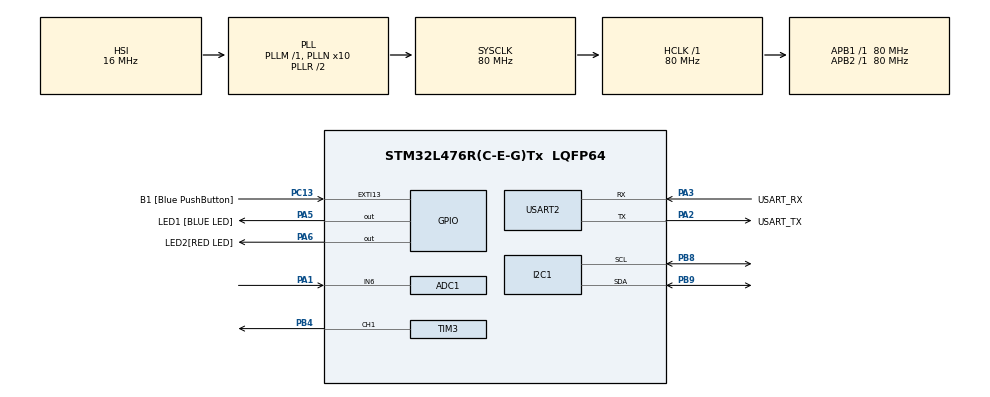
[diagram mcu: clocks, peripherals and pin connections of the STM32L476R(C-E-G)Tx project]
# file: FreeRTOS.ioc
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ADC1.Channel-0\#ChannelRegularConversion=ADC_CHANNEL_6
ADC1.ClockPrescaler=ADC_CLOCK_ASYNC_DIV128
ADC1.NbrOfConversionFlag=1
ADC1.OffsetNumber-0\#ChannelRegularConversion=ADC_OFFSET_NONE
ADC1.Rank-0\#ChannelRegularConversion=1
ADC1.SamplingTime-0\#ChannelRegularConversion=ADC_SAMPLETIME_2CYCLES_5
ADC1.master=1
FREERTOS.HEAP_NUMBER=4
FREERTOS.Tasks01=blinkTaskRed,24,128,Led_blinkTask,As weak,&ledRed,Dynamic,NULL,NULL;UartTask,8,256,Uart_uartTask,As external,NULL,Dynamic,NULL,NULL;blinkTaskBlue,8,128,Led_blinkTask,Default,&ledBlue,Dynamic,NULL,NULL;readDateTask,8,256,Rtc_readDateTask,As external,NULL,Dynamic,NULL,NULL;printDataTask,8,256,printData_task,As external,NULL,Dynamic,NULL,NULL;readAdcTask,8,256,Adc_readTask,As external,NULL,Dynamic,NULL,NULL;buzzerTask,8,384,Buzzer_playTask,As external,&bz1,Dynamic,NULL,NULL
FREERTOS.configCHECK_FOR_STACK_OVERFLOW=0
FREERTOS.configTOTAL_HEAP_SIZE=8192
I2C1.Timing=0x10909CEC
Mcu.Family=STM32L4
Mcu.Name=STM32L476R(C-E-G)Tx
Mcu.Package=LQFP64
NVIC.PriorityGroup=NVIC_PRIORITYGROUP_4
NVIC.TIM1_UP_TIM16_IRQn=true\:15\:0\:false\:false\:true\:false\:false\:true\:true
NVIC.TimeBase=TIM1_UP_TIM16_IRQn
NVIC.TimeBaseIP=TIM16
PA1.Signal=ADCx_IN6
PA13\ (JTMS-SWDIO).GPIO_Label=TMS
PA13\ (JTMS-SWDIO).Mode=Serial_Wire
PA13\ (JTMS-SWDIO).Signal=SYS_JTMS-SWDIO
PA14\ (JTCK-SWCLK).GPIO_Label=TCK
PA14\ (JTCK-SWCLK).Mode=Serial_Wire
PA14\ (JTCK-SWCLK).Signal=SYS_JTCK-SWCLK
PA2.GPIO_Label=USART_TX
PA2.GPIO_Mode=GPIO_MODE_AF_PP
PA2.GPIO_PuPd=GPIO_NOPULL
PA2.GPIO_Speed=GPIO_SPEED_FREQ_VERY_HIGH
PA2.Mode=Asynchronous
PA2.Signal=USART2_TX
PA3.GPIO_Label=USART_RX
PA3.GPIO_Mode=GPIO_MODE_AF_PP
PA3.GPIO_PuPd=GPIO_NOPULL
PA3.GPIO_Speed=GPIO_SPEED_FREQ_VERY_HIGH
PA3.Mode=Asynchronous
PA3.Signal=USART2_RX
PA5.GPIO_Label=LED1 [BLUE LED]
PA5.GPIO_ModeDefaultOutputPP=GPIO_MODE_OUTPUT_PP
PA5.GPIO_PuPd=GPIO_NOPULL
PA5.GPIO_Speed=GPIO_SPEED_FREQ_LOW
PA5.Signal=GPIO_Output
PA6.GPIO_Label=LED2[RED LED]
PA6.Signal=GPIO_Output
PB3\ (JTDO-TRACESWO).GPIO_Label=SWO
PB3\ (JTDO-TRACESWO).Signal=SYS_JTDO-SWO
PB4\ (NJTRST).Signal=S_TIM3_CH1
PB8.Mode=I2C
PB8.Signal=I2C1_SCL
PB9.Mode=I2C
PB9.Signal=I2C1_SDA
PC13.GPIO_Label=B1 [Blue PushButton]
PC13.GPIO_ModeDefaultEXTI=GPIO_MODE_IT_FALLING
PC13.GPIO_PuPd=GPIO_NOPULL
PC13.Signal=GPXTI13
PC14-OSC32_IN\ (PC14).Mode=LSE-External-Oscillator
PC14-OSC32_IN\ (PC14).Signal=RCC_OSC32_IN
PC15-OSC32_OUT\ (PC15).Mode=LSE-External-Oscillator
PC15-OSC32_OUT\ (PC15).Signal=RCC_OSC32_OUT
PH0-OSC_IN\ (PH0).Signal=RCC_OSC_IN
PH1-OSC_OUT\ (PH1).Signal=RCC_OSC_OUT
ProjectManager.HeapSize=0x200
ProjectManager.StackSize=0x400
ProjectManager.TargetToolchain=STM32CubeIDE
RCC.ADCFreq_Value=64000000
RCC.AHBFreq_Value=80000000
RCC.APB1Freq_Value=80000000
RCC.APB1TimFreq_Value=80000000
RCC.APB2Freq_Value=80000000
RCC.APB2TimFreq_Value=80000000
RCC.CortexFreq_Value=80000000
RCC.HCLKFreq_Value=80000000
RCC.HSE_VALUE=8000000
RCC.HSI_VALUE=16000000
RCC.MSI_VALUE=4000000
RCC.PLLN=10
RCC.PLLSourceVirtual=RCC_PLLSOURCE_HSI
RCC.PREFETCH_ENABLE=1
RCC.SYSCLKFreq_VALUE=80000000
RCC.SYSCLKSource=RCC_SYSCLKSOURCE_PLLCLK
RCC.USBFreq_Value=64000000
RCC.VCOOutputFreq_Value=160000000
SH.ADCx_IN6.0=ADC1_IN6,IN6-Single-Ended
SH.S_TIM3_CH1.0=TIM3_CH1,PWM Generation1 CH1
TIM3.Channel-PWM\ Generation1\ CH1=TIM_CHANNEL_1
TIM3.Period=392
TIM3.Prescaler=799
USART2.VirtualMode-Asynchronous=VM_ASYNC
VP_FREERTOS_VS_CMSIS_V2.Mode=CMSIS_V2
VP_SYS_VS_tim16.Mode=TIM16
board=NUCLEO-L476RG

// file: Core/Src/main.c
/* USER CODE BEGIN Header */
/**
  ******************************************************************************
  * @file           : main.c
  * @brief          : Main program body
  ******************************************************************************
  * @attention
  *
  * Copyright (c) 2022 STMicroelectronics.
  * All rights reserved.
  *
  * This software is licensed under terms that can be found in the LICENSE file
  * in the root directory of this software component.
  * If no LICENSE file comes with this software, it is provided AS-IS.
  *
  ******************************************************************************
  */
/* USER CODE END Header */
#include "main.h"
#include "cmsis_os.h"

/* USER CODE BEGIN Includes */
#include "FreeRTOS.h"
#include "LedBlinkTask.h"
#include "InputControl.h"
#include "Buzzer.h"
/* USER CODE END Includes */

 ADC_HandleTypeDef hadc1;

I2C_HandleTypeDef hi2c1;

TIM_HandleTypeDef htim3;

UART_HandleTypeDef huart2;

/* Definitions for blinkTaskRed */
osThreadId_t blinkTaskRedHandle;
const osThreadAttr_t blinkTaskRed_attributes = {
  .name = "blinkTaskRed",
  .stack_size = 128 * 4,
  .priority = (osPriority_t) osPriorityNormal,
};
/* Definitions for UartTask */
osThreadId_t UartTaskHandle;
const osThreadAttr_t UartTask_attributes = {
  .name = "UartTask",
  .stack_size = 256 * 4,
  .priority = (osPriority_t) osPriorityLow,
};
/* Definitions for blinkTaskBlue */
osThreadId_t blinkTaskBlueHandle;
const osThreadAttr_t blinkTaskBlue_attributes = {
  .name = "blinkTaskBlue",
  .stack_size = 128 * 4,
  .priority = (osPriority_t) osPriorityLow,
};
/* Definitions for readDateTask */
osThreadId_t readDateTaskHandle;
const osThreadAttr_t readDateTask_attributes = {
  .name = "readDateTask",
  .stack_size = 256 * 4,
  .priority = (osPriority_t) osPriorityLow,
};
/* Definitions for printDataTask */
osThreadId_t printDataTaskHandle;
const osThreadAttr_t printDataTask_attributes = {
  .name = "printDataTask",
  .stack_size = 256 * 4,
  .priority = (osPriority_t) osPriorityLow,
};
/* Definitions for readAdcTask */
osThreadId_t readAdcTaskHandle;
const osThreadAttr_t readAdcTask_attributes = {
  .name = "readAdcTask",
  .stack_size = 256 * 4,
  .priority = (osPriority_t) osPriorityLow,
};
/* Definitions for buzzerTask */
osThreadId_t buzzerTaskHandle;
const osThreadAttr_t buzzerTask_attributes = {
  .name = "buzzerTask",
  .stack_size = 384 * 4,
  .priority = (osPriority_t) osPriorityLow,
};

void SystemClock_Config(void);
static void MX_GPIO_Init(void);
static void MX_USART2_UART_Init(void);
static void MX_I2C1_Init(void);
static void MX_ADC1_Init(void);
static void MX_TIM3_Init(void);
void Led_blinkTask(void *argument);
extern void Uart_uartTask(void *argument);
extern void Rtc_readDateTask(void *argument);
extern void printData_task(void *argument);
extern void Adc_readTask(void *argument);
extern void Buzzer_playTask(void *argument);

/* USER CODE BEGIN 0 */
Led ledBlue;
Led ledRed;
Buzzer bz1;
/* USER CODE END 0 */

int main(void)
{

  /* MCU Configuration--------------------------------------------------------*/

  /* Reset of all peripherals, Initializes the Flash interface and the Systick. */
  HAL_Init();

  /* Configure the system clock */
  SystemClock_Config();

  /* Initialize all configured peripherals */
  MX_GPIO_Init();
  MX_USART2_UART_Init();
  MX_I2C1_Init();
  MX_ADC1_Init();
  MX_TIM3_Init();
  /* USER CODE BEGIN 2 */
  InputControl_Init();
  Led_init(&ledBlue, LED1_GPIO_Port, LED1_Pin);
  Led_init(&ledRed, LED2_GPIO_Port, LED2_Pin);
  Buzzer_init(&bz1);
  uint8_t buffer[]={0,0,0,0,0,0,0};
  HAL_I2C_Mem_Write(&hi2c1, 0xD0, 0,1, buffer, 7, 0xff);
  HAL_TIM_PWM_Start(&htim3, TIM_CHANNEL_1);

  /* USER CODE END 2 */

  /* Init scheduler */
  osKernelInitialize();

  /* Create the thread(s) */
  /* creation of blinkTaskRed */
  blinkTaskRedHandle = osThreadNew(Led_blinkTask, (void*) &ledRed, &blinkTaskRed_attributes);

  /* creation of UartTask */
  UartTaskHandle = osThreadNew(Uart_uartTask, NULL, &UartTask_attributes);

  /* creation of blinkTaskBlue */
  blinkTaskBlueHandle = osThreadNew(Led_blinkTask, (void*) &ledBlue, &blinkTaskBlue_attributes);

  /* creation of readDateTask */
  readDateTaskHandle = osThreadNew(Rtc_readDateTask, NULL, &readDateTask_attributes);

  /* creation of printDataTask */
  printDataTaskHandle = osThreadNew(printData_task, NULL, &printDataTask_attributes);

  /* creation of readAdcTask */
  readAdcTaskHandle = osThreadNew(Adc_readTask, NULL, &readAdcTask_attributes);

  /* creation of buzzerTask */
  buzzerTaskHandle = osThreadNew(Buzzer_playTask, (void*) &bz1, &buzzerTask_attributes);

  /* Start scheduler */
  osKernelStart();

  /* We should never get here as control is now taken by the scheduler */
  /* Infinite loop */
  while (1)
  {

  }
}

void SystemClock_Config(void)
{
  RCC_OscInitTypeDef RCC_OscInitStruct = {0};
  RCC_ClkInitTypeDef RCC_ClkInitStruct = {0};

  /** Configure the main internal regulator output voltage
  */
  if (HAL_PWREx_ControlVoltageScaling(PWR_REGULATOR_VOLTAGE_SCALE1) != HAL_OK)
  {
    Error_Handler();
  }

  /** Initializes the RCC Oscillators according to the specified parameters
  * in the RCC_OscInitTypeDef structure.
  */
  RCC_OscInitStruct.OscillatorType = RCC_OSCILLATORTYPE_HSI;
  RCC_OscInitStruct.HSIState = RCC_HSI_ON;
  RCC_OscInitStruct.HSICalibrationValue = RCC_HSICALIBRATION_DEFAULT;
  RCC_OscInitStruct.PLL.PLLState = RCC_PLL_ON;
  RCC_OscInitStruct.PLL.PLLSource = RCC_PLLSOURCE_HSI;
  RCC_OscInitStruct.PLL.PLLM = 1;
  RCC_OscInitStruct.PLL.PLLN = 10;
  RCC_OscInitStruct.PLL.PLLP = RCC_PLLP_DIV7;
  RCC_OscInitStruct.PLL.PLLQ = RCC_PLLQ_DIV2;
  RCC_OscInitStruct.PLL.PLLR = RCC_PLLR_DIV2;
  if (HAL_RCC_OscConfig(&RCC_OscInitStruct) != HAL_OK)
  {
    Error_Handler();
  }

  /** Initializes the CPU, AHB and APB buses clocks
  */
  RCC_ClkInitStruct.ClockType = RCC_CLOCKTYPE_HCLK|RCC_CLOCKTYPE_SYSCLK
                              |RCC_CLOCKTYPE_PCLK1|RCC_CLOCKTYPE_PCLK2;
  RCC_ClkInitStruct.SYSCLKSource = RCC_SYSCLKSOURCE_PLLCLK;
  RCC_ClkInitStruct.AHBCLKDivider = RCC_SYSCLK_DIV1;
  RCC_ClkInitStruct.APB1CLKDivider = RCC_HCLK_DIV1;
  RCC_ClkInitStruct.APB2CLKDivider = RCC_HCLK_DIV1;

  if (HAL_RCC_ClockConfig(&RCC_ClkInitStruct, FLASH_LATENCY_4) != HAL_OK)
  {
    Error_Handler();
  }
}

static void MX_ADC1_Init(void)
{

  ADC_MultiModeTypeDef multimode = {0};
  ADC_ChannelConfTypeDef sConfig = {0};

  /** Common config
  */
  hadc1.Instance = ADC1;
  hadc1.Init.ClockPrescaler = ADC_CLOCK_ASYNC_DIV128;
  hadc1.Init.Resolution = ADC_RESOLUTION_12B;
  hadc1.Init.DataAlign = ADC_DATAALIGN_RIGHT;
  hadc1.Init.ScanConvMode = ADC_SCAN_DISABLE;
  hadc1.Init.EOCSelection = ADC_EOC_SINGLE_CONV;
  hadc1.Init.LowPowerAutoWait = DISABLE;
  hadc1.Init.ContinuousConvMode = DISABLE;
  hadc1.Init.NbrOfConversion = 1;
  hadc1.Init.DiscontinuousConvMode = DISABLE;
  hadc1.Init.ExternalTrigConv = ADC_SOFTWARE_START;
  hadc1.Init.ExternalTrigConvEdge = ADC_EXTERNALTRIGCONVEDGE_NONE;
  hadc1.Init.DMAContinuousRequests = DISABLE;
  hadc1.Init.Overrun = ADC_OVR_DATA_PRESERVED;
  hadc1.Init.OversamplingMode = DISABLE;
  if (HAL_ADC_Init(&hadc1) != HAL_OK)
  {
    Error_Handler();
  }

  /** Configure the ADC multi-mode
  */
  multimode.Mode = ADC_MODE_INDEPENDENT;
  if (HAL_ADCEx_MultiModeConfigChannel(&hadc1, &multimode) != HAL_OK)
  {
    Error_Handler();
  }

  /** Configure Regular Channel
  */
  sConfig.Channel = ADC_CHANNEL_6;
  sConfig.Rank = ADC_REGULAR_RANK_1;
  sConfig.SamplingTime = ADC_SAMPLETIME_2CYCLES_5;
  sConfig.SingleDiff = ADC_SINGLE_ENDED;
  sConfig.OffsetNumber = ADC_OFFSET_NONE;
  sConfig.Offset = 0;
  if (HAL_ADC_ConfigChannel(&hadc1, &sConfig) != HAL_OK)
  {
    Error_Handler();
  }

}

static void MX_I2C1_Init(void)
{

  hi2c1.Instance = I2C1;
  hi2c1.Init.Timing = 0x10909CEC;
  hi2c1.Init.OwnAddress1 = 0;
  hi2c1.Init.AddressingMode = I2C_ADDRESSINGMODE_7BIT;
  hi2c1.Init.DualAddressMode = I2C_DUALADDRESS_DISABLE;
  hi2c1.Init.OwnAddress2 = 0;
  hi2c1.Init.OwnAddress2Masks = I2C_OA2_NOMASK;
  hi2c1.Init.GeneralCallMode = I2C_GENERALCALL_DISABLE;
  hi2c1.Init.NoStretchMode = I2C_NOSTRETCH_DISABLE;
  if (HAL_I2C_Init(&hi2c1) != HAL_OK)
  {
    Error_Handler();
  }

  /** Configure Analogue filter
  */
  if (HAL_I2CEx_ConfigAnalogFilter(&hi2c1, I2C_ANALOGFILTER_ENABLE) != HAL_OK)
  {
    Error_Handler();
  }

  /** Configure Digital filter
  */
  if (HAL_I2CEx_ConfigDigitalFilter(&hi2c1, 0) != HAL_OK)
  {
    Error_Handler();
  }

}

static void MX_TIM3_Init(void)
{

  TIM_MasterConfigTypeDef sMasterConfig = {0};
  TIM_OC_InitTypeDef sConfigOC = {0};

  htim3.Instance = TIM3;
  htim3.Init.Prescaler = 799;
  htim3.Init.CounterMode = TIM_COUNTERMODE_UP;
  htim3.Init.Period = 392;
  htim3.Init.ClockDivision = TIM_CLOCKDIVISION_DIV1;
  htim3.Init.AutoReloadPreload = TIM_AUTORELOAD_PRELOAD_DISABLE;
  if (HAL_TIM_PWM_Init(&htim3) != HAL_OK)
  {
    Error_Handler();
  }
  sMasterConfig.MasterOutputTrigger = TIM_TRGO_RESET;
  sMasterConfig.MasterSlaveMode = TIM_MASTERSLAVEMODE_DISABLE;
  if (HAL_TIMEx_MasterConfigSynchronization(&htim3, &sMasterConfig) != HAL_OK)
  {
    Error_Handler();
  }
  sConfigOC.OCMode = TIM_OCMODE_PWM1;
  sConfigOC.Pulse = 0;
  sConfigOC.OCPolarity = TIM_OCPOLARITY_HIGH;
  sConfigOC.OCFastMode = TIM_OCFAST_DISABLE;
  if (HAL_TIM_PWM_ConfigChannel(&htim3, &sConfigOC, TIM_CHANNEL_1) != HAL_OK)
  {
    Error_Handler();
  }
  HAL_TIM_MspPostInit(&htim3);

}

static void MX_USART2_UART_Init(void)
{

  huart2.Instance = USART2;
  huart2.Init.BaudRate = 115200;
  huart2.Init.WordLength = UART_WORDLENGTH_8B;
  huart2.Init.StopBits = UART_STOPBITS_1;
  huart2.Init.Parity = UART_PARITY_NONE;
  huart2.Init.Mode = UART_MODE_TX_RX;
  huart2.Init.HwFlowCtl = UART_HWCONTROL_NONE;
  huart2.Init.OverSampling = UART_OVERSAMPLING_16;
  huart2.Init.OneBitSampling = UART_ONE_BIT_SAMPLE_DISABLE;
  huart2.AdvancedInit.AdvFeatureInit = UART_ADVFEATURE_NO_INIT;
  if (HAL_UART_Init(&huart2) != HAL_OK)
  {
    Error_Handler();
  }

}

static void MX_GPIO_Init(void)
{
  GPIO_InitTypeDef GPIO_InitStruct = {0};

  /* GPIO Ports Clock Enable */
  __HAL_RCC_GPIOC_CLK_ENABLE();
  __HAL_RCC_GPIOH_CLK_ENABLE();
  __HAL_RCC_GPIOA_CLK_ENABLE();
  __HAL_RCC_GPIOB_CLK_ENABLE();

  /*Configure GPIO pin Output Level */
  HAL_GPIO_WritePin(GPIOA, LED1_Pin|LED2_Pin, GPIO_PIN_RESET);

  /*Configure GPIO pin : B1_Pin */
  GPIO_InitStruct.Pin = B1_Pin;
  GPIO_InitStruct.Mode = GPIO_MODE_IT_FALLING;
  GPIO_InitStruct.Pull = GPIO_NOPULL;
  HAL_GPIO_Init(B1_GPIO_Port, &GPIO_InitStruct);

  /*Configure GPIO pins : LED1_Pin LED2_Pin */
  GPIO_InitStruct.Pin = LED1_Pin|LED2_Pin;
  GPIO_InitStruct.Mode = GPIO_MODE_OUTPUT_PP;
  GPIO_InitStruct.Pull = GPIO_NOPULL;
  GPIO_InitStruct.Speed = GPIO_SPEED_FREQ_LOW;
  HAL_GPIO_Init(GPIOA, &GPIO_InitStruct);

}

/* USER CODE BEGIN 4 */
int _write(int fd, char* ptr, int len) {
    HAL_UART_Transmit(&huart2, (uint8_t *) ptr, len, HAL_MAX_DELAY);
    return len;
}

/* USER CODE END 4 */

__weak void Led_blinkTask(void *argument)
{
  for(;;)
  {
    osDelay(1);
  }
}

void HAL_TIM_PeriodElapsedCallback(TIM_HandleTypeDef *htim)
{
  if (htim->Instance == TIM16) {
    HAL_IncTick();
  }
}

void Error_Handler(void)
{
  __disable_irq();
  while (1)
  {
  }
}
